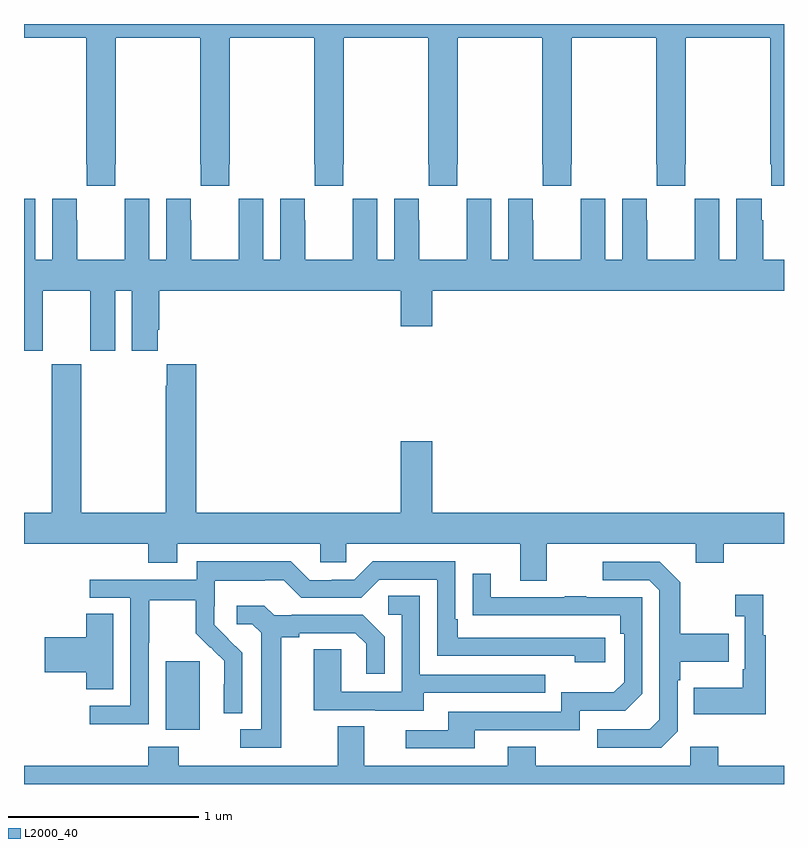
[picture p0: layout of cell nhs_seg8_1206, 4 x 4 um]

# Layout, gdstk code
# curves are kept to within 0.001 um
import gdstk
lib = gdstk.Library(unit=1e-6, precision=1e-09)
def R(c, l, rs):  # rectangles x0, y0, x1, y1
    for r in rs: c.add(gdstk.rectangle(r[:2], r[2:], *l))
def P(c, l, *ps):  # polygons
    for p in ps: c.add(gdstk.Polygon(p, *l))
L2000_40 = (2000, 40)

nhs_seg8_1206 = lib.new_cell('nhs_seg8_1206')
R(nhs_seg8_1206, L2000_40, [(187.745,1118.186,187.924,1118.547)])
P(nhs_seg8_1206, L2000_40, [(187.479,1121.161),(187.482,1121.161),(187.482,1121.828),(187.927,1121.828),(187.927,1121.161),(187.929,1121.161),(187.929,1121.049),(188.079,1121.049),(188.079,1121.161),(188.082,1121.161),(188.082,1121.828),(188.527,1121.828),(188.527,1121.161),(188.529,1121.161),(188.529,1121.049),(188.679,1121.049),(188.679,1121.161),(188.682,1121.161),(188.682,1121.828),(189.127,1121.828),(189.127,1121.161),(189.129,1121.161),(189.129,1121.049),(189.279,1121.049),(189.279,1121.161),(189.282,1121.161),(189.282,1121.828),(189.727,1121.828),(189.727,1121.161),(189.729,1121.161),(189.729,1121.049),(189.879,1121.049),(189.879,1121.161),(189.882,1121.161),(189.882,1121.828),(190.327,1121.828),(190.327,1121.161),(190.329,1121.161),(190.329,1121.049),(190.479,1121.049),(190.479,1121.161),(190.482,1121.161),(190.482,1121.828),(190.927,1121.828),(190.927,1121.161),(190.933,1121.161),(190.933,1121.049),(191,1121.049),(191,1121.9),(187,1121.9),(187,1121.828),(187.327,1121.828),(187.327,1121.161),(187.329,1121.161),(187.329,1121.049),(187.479,1121.049)],
  [(191,1120.66),(190.892,1120.66),(190.892,1120.868),(190.882,1120.868),(190.882,1120.981),(190.748,1120.981),(190.748,1120.66),(190.66,1120.66),(190.66,1120.981),(190.53,1120.981),(190.53,1120.868),(190.529,1120.868),(190.529,1120.66),(190.279,1120.66),(190.279,1120.868),(190.278,1120.868),(190.278,1120.981),(190.148,1120.981),(190.148,1120.66),(190.06,1120.66),(190.06,1120.981),(189.93,1120.981),(189.93,1120.868),(189.929,1120.868),(189.929,1120.66),(189.679,1120.66),(189.679,1120.868),(189.678,1120.868),(189.678,1120.981),(189.548,1120.981),(189.548,1120.66),(189.46,1120.66),(189.46,1120.981),(189.33,1120.981),(189.33,1120.868),(189.329,1120.868),(189.329,1120.66),(189.079,1120.66),(189.079,1120.868),(189.078,1120.868),(189.078,1120.981),(188.948,1120.981),(188.948,1120.66),(188.86,1120.66),(188.86,1120.981),(188.73,1120.981),(188.73,1120.868),(188.729,1120.868),(188.729,1120.66),(188.479,1120.66),(188.479,1120.868),(188.478,1120.868),(188.478,1120.981),(188.348,1120.981),(188.348,1120.66),(188.26,1120.66),(188.26,1120.981),(188.13,1120.981),(188.13,1120.868),(188.129,1120.868),(188.129,1120.66),(187.879,1120.66),(187.879,1120.868),(187.878,1120.868),(187.878,1120.981),(187.748,1120.981),(187.748,1120.66),(187.66,1120.66),(187.66,1120.981),(187.53,1120.981),(187.53,1120.868),(187.529,1120.868),(187.529,1120.66),(187.279,1120.66),(187.279,1120.868),(187.278,1120.868),(187.278,1120.981),(187.148,1120.981),(187.148,1120.66),(187.06,1120.66),(187.06,1120.981),(187,1120.981),(187,1120.179),(187.099,1120.179),(187.099,1120.496),(187.349,1120.496),(187.349,1120.179),(187.48,1120.179),(187.48,1120.496),(187.568,1120.496),(187.568,1120.179),(187.705,1120.179),(187.705,1120.291),(187.712,1120.291),(187.712,1120.496),(188.984,1120.496),(188.984,1120.308),(189.148,1120.308),(189.148,1120.496),(191,1120.496)],
  [(189.751,1119.164),(190.535,1119.164),(190.535,1119.065),(190.683,1119.065),(190.683,1119.164),(191,1119.164),(191,1119.328),(189.148,1119.328),(189.148,1119.703),(188.984,1119.703),(188.984,1119.328),(187.907,1119.328),(187.907,1120.108),(187.751,1120.108),(187.751,1119.995),(187.747,1119.995),(187.747,1119.328),(187.302,1119.328),(187.302,1120.108),(187.147,1120.108),(187.147,1119.328),(187,1119.328),(187,1119.164),(187.655,1119.164),(187.655,1119.065),(187.807,1119.065),(187.807,1119.164),(188.559,1119.164),(188.559,1119.066),(188.697,1119.066),(188.697,1119.164),(189.611,1119.164),(189.611,1118.97),(189.751,1118.97)],
  [(187.656,1118.644),(187.659,1118.644),(187.659,1118.868),(187.903,1118.868),(187.903,1118.693),(187.98,1118.616),(187.983,1118.619),(188.054,1118.549),(188.054,1118.426),(188.052,1118.426),(188.052,1118.272),(188.148,1118.272),(188.148,1118.59),(188.002,1118.738),(188.002,1118.835),(188.004,1118.835),(188.004,1118.969),(188.267,1118.969),(188.267,1118.973),(188.367,1118.973),(188.46,1118.88),(188.775,1118.88),(188.871,1118.976),(189.174,1118.976),(189.174,1118.574),(189.899,1118.574),(189.899,1118.54),(190.06,1118.54),(190.06,1118.67),(189.283,1118.67),(189.283,1118.767),(189.27,1118.767),(189.27,1119.072),(188.835,1119.072),(188.739,1118.976),(188.621,1118.976),(188.621,1118.973),(188.505,1118.973),(188.405,1119.073),(187.908,1119.073),(187.908,1118.976),(187.347,1118.976),(187.347,1118.88),(187.56,1118.88),(187.56,1118.313),(187.347,1118.313),(187.347,1118.215),(187.656,1118.215)],
  [(190.44,1118.178),(190.44,1118.447),(190.453,1118.447),(190.453,1118.543),(190.709,1118.543),(190.709,1118.691),(190.453,1118.691),(190.453,1118.963),(190.347,1119.069),(190.047,1119.069),(190.047,1118.973),(190.29,1118.973),(190.344,1118.919),(190.344,1118.238),(190.293,1118.187),(190.017,1118.187),(190.017,1118.091),(190.353,1118.091)],
  [(189.373,1118.184),(189.924,1118.184),(189.924,1118.286),(190.164,1118.286),(190.254,1118.376),(190.254,1118.883),(189.959,1118.883),(189.959,1118.888),(189.847,1118.888),(189.847,1118.883),(189.457,1118.883),(189.457,1119.007),(189.361,1119.007),(189.361,1118.788),(190.138,1118.787),(190.138,1118.69),(190.158,1118.69),(190.158,1118.436),(190.105,1118.383),(189.828,1118.383),(189.828,1118.28),(189.233,1118.28),(189.233,1118.184),(189.009,1118.184),(189.009,1118.088),(189.373,1118.088)],
  [(190.903,1118.683),(190.891,1118.683),(190.891,1118.896),(190.743,1118.896),(190.743,1118.783),(190.794,1118.783),(190.794,1118.503),(190.782,1118.503),(190.782,1118.407),(190.525,1118.407),(190.525,1118.267),(190.903,1118.267)],
  [(189.103,1118.379),(189.743,1118.379),(189.743,1118.475),(189.084,1118.475),(189.084,1118.891),(188.916,1118.891),(188.916,1118.79),(188.988,1118.79),(188.988,1118.385),(188.67,1118.385),(188.67,1118.609),(188.525,1118.609),(188.525,1118.289),(188.849,1118.289),(188.849,1118.285),(189.103,1118.285)],
  [(188.353,1118.672),(188.449,1118.672),(188.449,1118.694),(188.744,1118.694),(188.801,1118.637),(188.801,1118.481),(188.898,1118.481),(188.898,1118.674),(188.782,1118.79),(188.41,1118.79),(188.41,1118.787),(188.316,1118.787),(188.264,1118.839),(188.121,1118.839),(188.121,1118.742),(188.202,1118.742),(188.249,1118.695),(188.249,1118.187),(188.139,1118.187),(188.139,1118.091),(188.353,1118.091)],
  [(187.471,1118.795),(187.328,1118.795),(187.328,1118.672),(187.11,1118.672),(187.11,1118.489),(187.328,1118.489),(187.328,1118.398),(187.471,1118.398)],
  [(191,1117.996),(190.653,1117.996),(190.653,1118.095),(190.506,1118.095),(190.506,1117.996),(189.693,1117.996),(189.693,1118.095),(189.545,1118.095),(189.545,1117.996),(188.791,1117.996),(188.791,1118.204),(188.651,1118.204),(188.651,1117.996),(187.815,1117.996),(187.815,1118.095),(187.655,1118.095),(187.655,1117.996),(187,1117.996),(187,1117.9),(191,1117.9)])

lib.write_gds('nhs_seg8_1206.gds')
